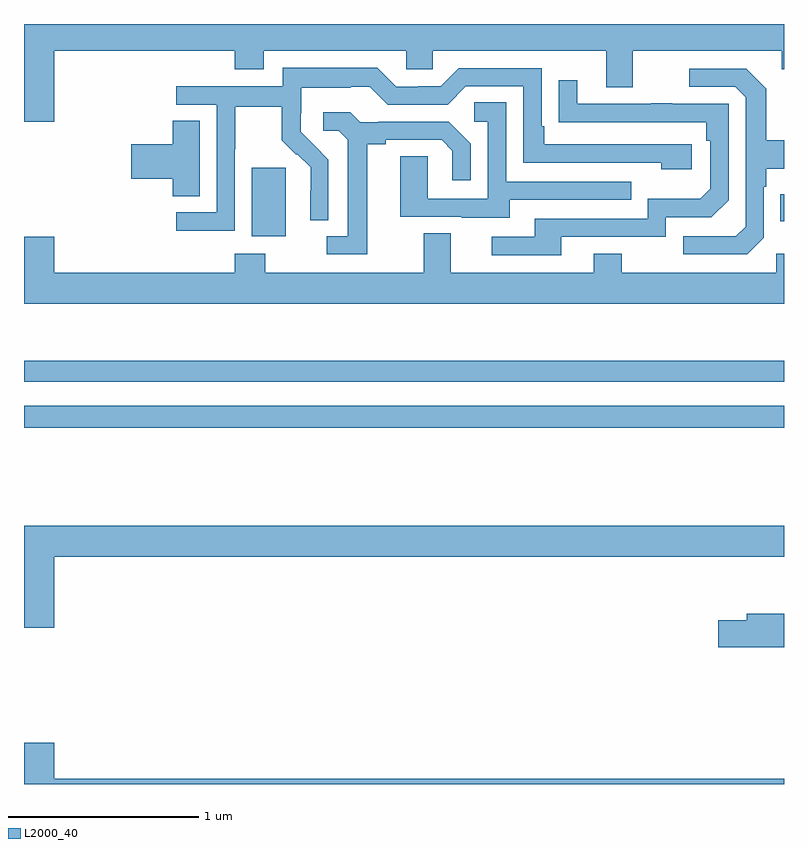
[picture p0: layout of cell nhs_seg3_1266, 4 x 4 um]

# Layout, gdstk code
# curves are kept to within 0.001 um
import gdstk
lib = gdstk.Library(unit=1e-6, precision=1e-09)
def R(c, l, rs):  # rectangles x0, y0, x1, y1
    for r in rs: c.add(gdstk.rectangle(r[:2], r[2:], *l))
def P(c, l, *ps):  # polygons
    for p in ps: c.add(gdstk.Polygon(p, *l))
L2000_40 = (2000, 40)

nhs_seg3_1266 = lib.new_cell('nhs_seg3_1266')
R(nhs_seg3_1266, L2000_40, [(177,688.276,181,688.392), (177,688.518,181,688.627), (178.199,689.282,178.378,689.643), (180.979,689.363,181,689.503)])
P(nhs_seg3_1266, L2000_40, [(177.16,690.26),(178.109,690.26),(178.109,690.161),(178.261,690.161),(178.261,690.26),(179.013,690.26),(179.013,690.162),(179.151,690.162),(179.151,690.26),(180.065,690.26),(180.065,690.066),(180.205,690.066),(180.205,690.26),(180.989,690.26),(180.989,690.161),(181,690.161),(181,690.4),(177,690.4),(177,689.886),(177.16,689.886)],
  [(178.11,689.74),(178.113,689.74),(178.113,689.964),(178.357,689.964),(178.357,689.789),(178.434,689.712),(178.437,689.715),(178.508,689.645),(178.508,689.522),(178.506,689.522),(178.506,689.368),(178.602,689.368),(178.602,689.686),(178.456,689.834),(178.456,689.931),(178.458,689.931),(178.458,690.065),(178.721,690.065),(178.721,690.069),(178.821,690.069),(178.914,689.976),(179.229,689.976),(179.325,690.072),(179.628,690.072),(179.628,689.67),(180.353,689.67),(180.353,689.636),(180.514,689.636),(180.514,689.766),(179.737,689.766),(179.737,689.863),(179.724,689.863),(179.724,690.168),(179.289,690.168),(179.193,690.072),(179.075,690.072),(179.075,690.069),(178.959,690.069),(178.859,690.169),(178.362,690.169),(178.362,690.072),(177.801,690.072),(177.801,689.976),(178.014,689.976),(178.014,689.409),(177.801,689.409),(177.801,689.311),(178.11,689.311)],
  [(180.894,689.274),(180.894,689.543),(180.907,689.543),(180.907,689.639),(181,689.639),(181,689.787),(180.907,689.787),(180.907,690.059),(180.801,690.165),(180.501,690.165),(180.501,690.069),(180.744,690.069),(180.798,690.015),(180.798,689.334),(180.747,689.283),(180.471,689.283),(180.471,689.187),(180.807,689.187)],
  [(179.827,689.28),(180.378,689.28),(180.378,689.382),(180.618,689.382),(180.708,689.472),(180.708,689.979),(180.413,689.979),(180.413,689.984),(180.301,689.984),(180.301,689.979),(179.911,689.979),(179.911,690.103),(179.815,690.103),(179.815,689.884),(180.592,689.883),(180.592,689.786),(180.612,689.786),(180.612,689.532),(180.559,689.479),(180.282,689.479),(180.282,689.376),(179.687,689.376),(179.687,689.28),(179.463,689.28),(179.463,689.184),(179.827,689.184)],
  [(179.557,689.475),(180.197,689.475),(180.197,689.571),(179.538,689.571),(179.538,689.987),(179.37,689.987),(179.37,689.886),(179.442,689.886),(179.442,689.481),(179.124,689.481),(179.124,689.705),(178.979,689.705),(178.979,689.385),(179.303,689.385),(179.303,689.381),(179.557,689.381)],
  [(178.807,689.768),(178.903,689.768),(178.903,689.79),(179.198,689.79),(179.255,689.733),(179.255,689.577),(179.352,689.577),(179.352,689.77),(179.236,689.886),(178.864,689.886),(178.864,689.883),(178.77,689.883),(178.718,689.935),(178.575,689.935),(178.575,689.838),(178.656,689.838),(178.703,689.791),(178.703,689.283),(178.593,689.283),(178.593,689.187),(178.807,689.187)],
  [(177.925,689.891),(177.782,689.891),(177.782,689.768),(177.564,689.768),(177.564,689.585),(177.782,689.585),(177.782,689.494),(177.925,689.494)],
  [(181,689.191),(180.96,689.191),(180.96,689.092),(180.147,689.092),(180.147,689.191),(179.999,689.191),(179.999,689.092),(179.245,689.092),(179.245,689.3),(179.105,689.3),(179.105,689.092),(178.269,689.092),(178.269,689.191),(178.109,689.191),(178.109,689.092),(177.16,689.092),(177.16,689.281),(177,689.281),(177,688.928),(181,688.928)],
  [(177.16,687.596),(181,687.596),(181,687.76),(177,687.76),(177,687.222),(177.16,687.222)],
  [(181,687.295),(180.803,687.295),(180.803,687.261),(180.654,687.261),(180.654,687.119),(181,687.119)],
  [(181,686.428),(177.16,686.428),(177.16,686.617),(177,686.617),(177,686.4),(181,686.4)])

lib.write_gds('nhs_seg3_1266.gds')
